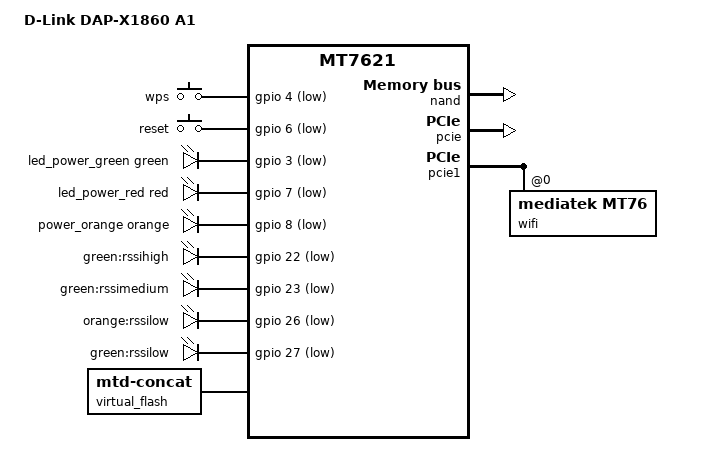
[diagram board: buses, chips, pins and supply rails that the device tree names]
// SPDX-License-Identifier: GPL-2.0-or-later OR MIT

#include "mt7621.dtsi"

#include <dt-bindings/gpio/gpio.h>
#include <dt-bindings/input/input.h>
#include <dt-bindings/leds/common.h>

/ {
	compatible = "dlink,dap-x1860-a1", "mediatek,mt7621-soc";
	model = "D-Link DAP-X1860 A1";

	chosen {
		bootargs = "console=ttyS0,115200";
	};

	aliases {
		label-mac-device = &gmac0;
		led-boot = &led_power_green;
		led-failsafe = &led_power_red;
		led-running = &led_power_green;
		led-upgrade = &led_power_red;
	};

	keys {
		compatible = "gpio-keys";

		wps {
			label = "wps";
			gpios = <&gpio 4 GPIO_ACTIVE_LOW>;
			linux,code = <KEY_WPS_BUTTON>;
		};

		reset {
			label = "reset";
			gpios = <&gpio 6 GPIO_ACTIVE_LOW>;
			linux,code = <KEY_RESTART>;
		};
	};

	leds {
		compatible = "gpio-leds";

		led_power_green: power_green {
			function = LED_FUNCTION_POWER;
			color = <LED_COLOR_ID_GREEN>;
			gpios = <&gpio 3 GPIO_ACTIVE_LOW>;
			default-state = "on";
		};

		led_power_red: power_red {
			function = LED_FUNCTION_POWER;
			color = <LED_COLOR_ID_RED>;
			gpios = <&gpio 7 GPIO_ACTIVE_LOW>;
		};

		power_orange {
			function = LED_FUNCTION_POWER;
			color = <LED_COLOR_ID_ORANGE>;
			gpios = <&gpio 8 GPIO_ACTIVE_LOW>;
		};

		rssihigh {
			label = "green:rssihigh";
			gpios = <&gpio 22 GPIO_ACTIVE_LOW>;
		};

		rssimedium {
			label = "green:rssimedium";
			gpios = <&gpio 23 GPIO_ACTIVE_LOW>;
		};

		rssilow_orange {
			label = "orange:rssilow";
			gpios = <&gpio 26 GPIO_ACTIVE_LOW>;
		};

		rssilow_green {
			label = "green:rssilow";
			gpios = <&gpio 27 GPIO_ACTIVE_LOW>;
		};
	};

	virtual_flash {
		compatible = "mtd-concat";

		devices = <&fwconcat0 &fwconcat1>;

		partitions {
			compatible = "fixed-partitions";
			#address-cells = <1>;
			#size-cells = <1>;

			partition@0 {
				label = "ubi";
				reg = <0x0 0x0>;
			};
		};
	};
};

&nand {
	status = "okay";

	mediatek,nmbm;
	/* rsvd = Remapping Range / NAND Erase-Size */
	/* rsvd = 0x800000 / 0x20000 */
	mediatek,bmt-max-reserved-blocks = <64>;
	/* Remapping should include raw-nand we operate upon without UBI layer. */
	/* This includes (at least) the kernel which has to be loaded by U-Boot.*/
	mediatek,bmt-remap-range =
		<0x0 0x980000>;

	partitions {
		compatible = "fixed-partitions";
		#address-cells = <1>;
		#size-cells = <1>;

		partition@0 {
			label = "bootloader";
			reg = <0x0 0x80000>;
			read-only;
		};

		partition@80000 {
			label = "config";
			reg = <0x80000 0x80000>;
			read-only;
		};

		partition@100000 {
			label = "factory";
			reg = <0x100000 0x80000>;
			read-only;

			nvmem-layout {
				compatible = "fixed-layout";
				#address-cells = <1>;
				#size-cells = <1>;

				eeprom_factory_0: eeprom@0 {
					reg = <0x0 0xe00>;
				};

				macaddr_factory_4: macaddr@4 {
					reg = <0x4 0x6>;
				};

				precal_factory_e10: precal@e10 {
					reg = <0xe10 0x19c10>;
				};
			};
		};

		partition@180000 {
			label = "kernel";
			reg = <0x180000 0x0800000>;
		};

		fwconcat0: partition@980000 {
			label = "fwconcat0";
			reg = <0x980000 0x2c00000>;
		};

		partition@3580000 {
			label = "manufacture";
			reg = <0x3580000 0x400000>;
			read-only;
		};

		partition@3980000 {
			label = "storage";
			reg = <0x3980000 0x680000>;
			read-only;
		};

		fwconcat1: partition@4000000 {
			label = "fwconcat1";
			reg = <0x4000000 0x3800000>;
		};
	};
};

&pcie {
	status = "okay";
};

&pcie1 {
	wifi@0,0 {
		compatible = "mediatek,mt76";
		reg = <0x0000 0 0 0 0>;
		nvmem-cells = <&eeprom_factory_0>, <&precal_factory_e10>;
		nvmem-cell-names = "eeprom", "precal";
		mediatek,disable-radar-background;
	};
};

&ethernet {
	pinctrl-0 = <&mdio_pins>, <&rgmii1_pins>;
};

&gmac0 {
	nvmem-cells = <&macaddr_factory_4>;
	nvmem-cell-names = "mac-address";
};

&switch0 {
	gpio-controller;
	#gpio-cells = <2>;

	ports {
		port@0 {
			status = "okay";
			label = "lan";
		};
	};
};

&state_default {
	gpio {
		groups = "uart2";
		function = "gpio";
	};
};
